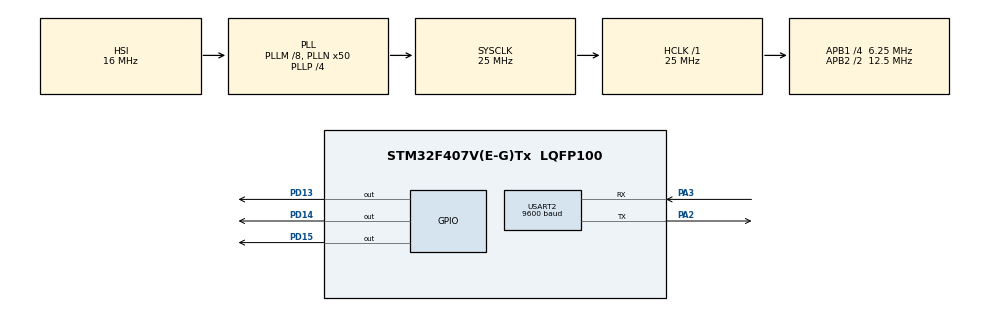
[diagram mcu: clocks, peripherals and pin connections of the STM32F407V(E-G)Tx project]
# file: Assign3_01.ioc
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Mcu.Family=STM32F4
Mcu.Name=STM32F407V(E-G)Tx
Mcu.Package=LQFP100
NVIC.PriorityGroup=NVIC_PRIORITYGROUP_0
PA2.Mode=Asynchronous
PA2.Signal=USART2_TX
PA3.Mode=Asynchronous
PA3.Signal=USART2_RX
PD13.Signal=GPIO_Output
PD14.Signal=GPIO_Output
PD15.Signal=GPIO_Output
ProjectManager.HeapSize=0x200
ProjectManager.StackSize=0x400
ProjectManager.TargetToolchain=STM32CubeIDE
RCC.48MHZClocksFreq_Value=14285714.285714285
RCC.AHBFreq_Value=25000000
RCC.APB1CLKDivider=RCC_HCLK_DIV4
RCC.APB1Freq_Value=6250000
RCC.APB1TimFreq_Value=12500000
RCC.APB2CLKDivider=RCC_HCLK_DIV2
RCC.APB2Freq_Value=12500000
RCC.APB2TimFreq_Value=25000000
RCC.CortexFreq_Value=25000000
RCC.HCLKFreq_Value=25000000
RCC.HSE_VALUE=8000000
RCC.HSI_VALUE=16000000
RCC.LSE_VALUE=32768
RCC.PLLM=8
RCC.PLLN=50
RCC.PLLP=RCC_PLLP_DIV4
RCC.PLLQ=7
RCC.SYSCLKFreq_VALUE=25000000
RCC.SYSCLKSource=RCC_SYSCLKSOURCE_PLLCLK
RCC.VCOOutputFreq_Value=100000000
USART2.BaudRate=9600
USART2.VirtualMode=VM_ASYNC
board=STM32F407G-DISC1

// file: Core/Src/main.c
/* USER CODE BEGIN Header */
/**
  ******************************************************************************
  * @file           : main.c
  * @brief          : Main program body
  ******************************************************************************
  * @attention
  *
  * Copyright (c) 2026 STMicroelectronics.
  * All rights reserved.
  *
  * This software is licensed under terms that can be found in the LICENSE file
  * in the root directory of this software component.
  * If no LICENSE file comes with this software, it is provided AS-IS.
  *
  ******************************************************************************
  */
/* USER CODE END Header */
#include "main.h"

UART_HandleTypeDef huart2;

/* USER CODE BEGIN PV */
uint8_t op[10];
/* USER CODE END PV */

void SystemClock_Config(void);
static void MX_GPIO_Init(void);
static void MX_USART2_UART_Init(void);

int main(void)
{

  /* MCU Configuration--------------------------------------------------------*/

  /* Reset of all peripherals, Initializes the Flash interface and the Systick. */
  HAL_Init();

  /* USER CODE BEGIN Init */

  void UartGets(uint8_t op[])
  {
      uint8_t ch;
      uint8_t i = 0;

      do
      {
          HAL_UART_Receive(&huart2, &ch, 1, HAL_MAX_DELAY);

          op[i] = ch;
          i++;

      } while(ch != '\r' && ch != '\n');

      op[i] = '\0';
  }
  /* USER CODE END Init */

  /* Configure the system clock */
  SystemClock_Config();

  /* Initialize all configured peripherals */
  MX_GPIO_Init();
  MX_USART2_UART_Init();

  /* Infinite loop */
  /* USER CODE BEGIN WHILE */
  while (1)
  {
      HAL_UART_Transmit(&huart2, (uint8_t *)"Select Operation\r\n", 18, HAL_MAX_DELAY);
      HAL_Delay(500);

      HAL_UART_Transmit(&huart2, (uint8_t *)"1.Red Led On\r\n", 15, HAL_MAX_DELAY);
      HAL_Delay(100);

      HAL_UART_Transmit(&huart2, (uint8_t *)"2.Red Led Off\r\n", 16, HAL_MAX_DELAY);
      HAL_Delay(100);

      HAL_UART_Transmit(&huart2, (uint8_t *)"3.Blue Led On\r\n", 16, HAL_MAX_DELAY);
      HAL_Delay(100);

      HAL_UART_Transmit(&huart2, (uint8_t *)"4.Blue Led Off\r\n", 17, HAL_MAX_DELAY);

      UartGets(op);

	  switch(op[0])
	  {
	      case '1':
	          HAL_GPIO_WritePin(GPIOD, GPIO_PIN_14, GPIO_PIN_SET);
	          break;

	      case '2':
	          HAL_GPIO_WritePin(GPIOD, GPIO_PIN_14, GPIO_PIN_RESET);
	          break;

	      case '3':
	          HAL_GPIO_WritePin(GPIOD, GPIO_PIN_15, GPIO_PIN_SET);
	          break;

	      case '4':
	          HAL_GPIO_WritePin(GPIOD, GPIO_PIN_15, GPIO_PIN_RESET);
	          break;
	  }
    /* USER CODE END WHILE */

  }
}

void SystemClock_Config(void)
{
  RCC_OscInitTypeDef RCC_OscInitStruct = {0};
  RCC_ClkInitTypeDef RCC_ClkInitStruct = {0};

  /** Configure the main internal regulator output voltage
  */
  __HAL_RCC_PWR_CLK_ENABLE();
  __HAL_PWR_VOLTAGESCALING_CONFIG(PWR_REGULATOR_VOLTAGE_SCALE1);

  /** Initializes the RCC Oscillators according to the specified parameters
  * in the RCC_OscInitTypeDef structure.
  */
  RCC_OscInitStruct.OscillatorType = RCC_OSCILLATORTYPE_HSI;
  RCC_OscInitStruct.HSIState = RCC_HSI_ON;
  RCC_OscInitStruct.HSICalibrationValue = RCC_HSICALIBRATION_DEFAULT;
  RCC_OscInitStruct.PLL.PLLState = RCC_PLL_ON;
  RCC_OscInitStruct.PLL.PLLSource = RCC_PLLSOURCE_HSI;
  RCC_OscInitStruct.PLL.PLLM = 8;
  RCC_OscInitStruct.PLL.PLLN = 50;
  RCC_OscInitStruct.PLL.PLLP = RCC_PLLP_DIV4;
  RCC_OscInitStruct.PLL.PLLQ = 7;
  if (HAL_RCC_OscConfig(&RCC_OscInitStruct) != HAL_OK)
  {
    Error_Handler();
  }

  /** Initializes the CPU, AHB and APB buses clocks
  */
  RCC_ClkInitStruct.ClockType = RCC_CLOCKTYPE_HCLK|RCC_CLOCKTYPE_SYSCLK
                              |RCC_CLOCKTYPE_PCLK1|RCC_CLOCKTYPE_PCLK2;
  RCC_ClkInitStruct.SYSCLKSource = RCC_SYSCLKSOURCE_PLLCLK;
  RCC_ClkInitStruct.AHBCLKDivider = RCC_SYSCLK_DIV1;
  RCC_ClkInitStruct.APB1CLKDivider = RCC_HCLK_DIV4;
  RCC_ClkInitStruct.APB2CLKDivider = RCC_HCLK_DIV2;

  if (HAL_RCC_ClockConfig(&RCC_ClkInitStruct, FLASH_LATENCY_0) != HAL_OK)
  {
    Error_Handler();
  }
}

static void MX_USART2_UART_Init(void)
{

  huart2.Instance = USART2;
  huart2.Init.BaudRate = 9600;
  huart2.Init.WordLength = UART_WORDLENGTH_8B;
  huart2.Init.StopBits = UART_STOPBITS_1;
  huart2.Init.Parity = UART_PARITY_NONE;
  huart2.Init.Mode = UART_MODE_TX_RX;
  huart2.Init.HwFlowCtl = UART_HWCONTROL_NONE;
  huart2.Init.OverSampling = UART_OVERSAMPLING_16;
  if (HAL_UART_Init(&huart2) != HAL_OK)
  {
    Error_Handler();
  }

}

static void MX_GPIO_Init(void)
{
  GPIO_InitTypeDef GPIO_InitStruct = {0};

  /* GPIO Ports Clock Enable */
  __HAL_RCC_GPIOA_CLK_ENABLE();
  __HAL_RCC_GPIOD_CLK_ENABLE();

  /*Configure GPIO pin Output Level */
  HAL_GPIO_WritePin(GPIOD, GPIO_PIN_13|GPIO_PIN_14|GPIO_PIN_15, GPIO_PIN_RESET);

  /*Configure GPIO pins : PD13 PD14 PD15 */
  GPIO_InitStruct.Pin = GPIO_PIN_13|GPIO_PIN_14|GPIO_PIN_15;
  GPIO_InitStruct.Mode = GPIO_MODE_OUTPUT_PP;
  GPIO_InitStruct.Pull = GPIO_NOPULL;
  GPIO_InitStruct.Speed = GPIO_SPEED_FREQ_LOW;
  HAL_GPIO_Init(GPIOD, &GPIO_InitStruct);

}

void Error_Handler(void)
{
  __disable_irq();
  while (1)
  {
  }
}
